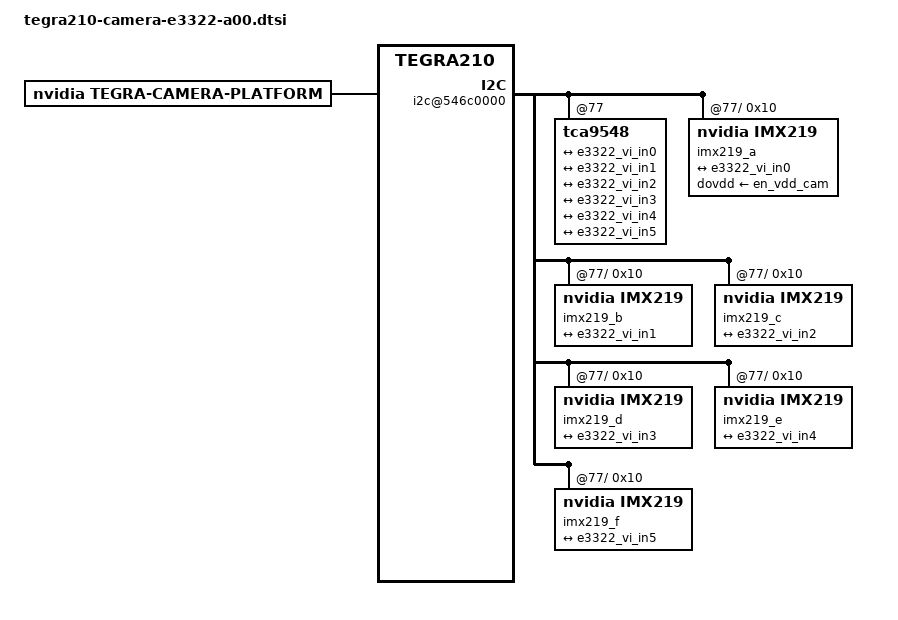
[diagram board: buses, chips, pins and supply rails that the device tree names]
/*
 * Copyright (c) 2015-2016, NVIDIA CORPORATION.  All rights reserved.
 *
 * This program is free software; you can redistribute it and/or modify
 * it under the terms of the GNU General Public License as published by
 * the Free Software Foundation; either version 2 of the License, or
 * (at your option) any later version.
 *
 * This program is distributed in the hope that it will be useful, but WITHOUT
 * ANY WARRANTY; without even the implied warranty of MERCHANTABILITY or
 * FITNESS FOR A PARTICULAR PURPOSE.  See the GNU General Public License for
 * more details.
 *
 * You should have received a copy of the GNU General Public License
 * along with this program.  If not, see <http://www.gnu.org/licenses/>.
 */

#include <dt-bindings/media/camera.h>
#include <dt-bindings/platform/t210/t210.h>

#define CAM0_RST_L	TEGRA_GPIO(S, 4)
#define CAM0_PWDN	TEGRA_GPIO(S, 7)

/* camera control gpio definitions */
/ {
	host1x {
		vi {
			num-channels = <6>;
			ports {
				#address-cells = <1>;
				#size-cells = <0>;
				port@0 {
					reg = <0>;
					e3322_vi_in0: endpoint {
						remote-endpoint = <&imx219_out0>;
					};
				};
				port@1 {
					reg = <1>;
					e3322_vi_in1: endpoint {
						remote-endpoint = <&imx219_out1>;
					};
				};
				port@2 {
					reg = <2>;
					e3322_vi_in2: endpoint {
						remote-endpoint = <&imx219_out2>;
					};
				};
				port@3 {
					reg = <3>;
					e3322_vi_in3: endpoint {
						remote-endpoint = <&imx219_out3>;
					};
				};
				port@4 {
					reg = <4>;
					e3322_vi_in4: endpoint {
						remote-endpoint = <&imx219_out4>;
					};
				};
				port@5 {
					reg = <5>;
					e3322_vi_in5: endpoint {
						remote-endpoint = <&imx219_out5>;
					};
				};
			};
		};

		i2c@546c0000 {
			status = "okay";
			#address-cells = <1>;
			#size-cells = <0>;

			tca9548@77 {
				i2c@0 {
					imx219_a@10 {
						compatible = "nvidia,imx219";
						reg = <0x10>;

						physical_w = "5.095";
						physical_h = "4.930";

						sensor_model ="imx219";
						dovdd-supply = <&en_vdd_cam>;
						avdd-reg = "vana";
						dvdd-reg = "vdig";
						iovdd-reg = "dovdd";
						devnode = "video0";

						/* Defines number of frames to be dropped by driver internally after applying */
						/* sensor crop settings. Some sensors send corrupt frames after applying */
						/* crop co-ordinates */
						post_crop_frame_drop = "0";

						mode0 { // IMX219_MODE_3280X2464
							mclk_khz = "12000";
							num_lanes = "2";
							tegra_sinterface = "serial_a";
							discontinuous_clk = "yes";
							cil_settletime = "0";

							active_w = "3280";
							active_h = "2464";
							pixel_t = "bayer_rggb";
							readout_orientation = "90";
							line_length = "3448";
							inherent_gain = "1";
							mclk_multiplier = "25";
							pix_clk_hz = "170000000";

							min_gain_val = "1.0";
							max_gain_val = "16.0";
							min_hdr_ratio = "1";
							max_hdr_ratio = "64";
							min_framerate = "1.462526";
							max_framerate = "21";
							min_exp_time = "13";
							max_exp_time = "683709";
						};
						ports {
							#address-cells = <1>;
							#size-cells = <0>;

							port@0 {
								reg = <0>;
								imx219_out0: endpoint {
									csi-port = <0>;
									bus-width = <2>;
									remote-endpoint = <&e3322_vi_in0>;
								};
							};
						};
					};
				};
				i2c@1 {
					imx219_b@10 {
						compatible = "nvidia,imx219";
						reg = <0x10>;

						physical_w = "5.095";
						physical_h = "4.930";

						sensor_model ="imx219";
						avdd-reg = "vana";
						dvdd-reg = "vdig";
						iovdd-reg = "dovdd";
						devnode = "video1";

						/* Defines number of frames to be dropped by driver internally after applying */
						/* sensor crop settings. Some sensors send corrupt frames after applying */
						/* crop co-ordinates */
						post_crop_frame_drop = "0";

						mode0 { // IMX219_MODE_3280X2464
							mclk_khz = "12000";
							num_lanes = "2";
							tegra_sinterface = "serial_b";
							discontinuous_clk = "yes";
							cil_settletime = "0";

							active_w = "3280";
							active_h = "2464";
							pixel_t = "bayer_rggb";
							readout_orientation = "90";
							line_length = "3448";
							inherent_gain = "1";
							mclk_multiplier = "25";
							pix_clk_hz = "170000000";

							min_gain_val = "1.0";
							max_gain_val = "16.0";
							min_hdr_ratio = "1";
							max_hdr_ratio = "64";
							min_framerate = "1.462526";
							max_framerate = "21";
							min_exp_time = "13";
							max_exp_time = "683709";
						};
						ports {
							#address-cells = <1>;
							#size-cells = <0>;

							port@0 {
								reg = <0>;
								imx219_out1: endpoint {
									csi-port = <1>;
									bus-width = <2>;
									remote-endpoint = <&e3322_vi_in1>;
								};
							};
						};
					};
				};
				i2c@2 {
					imx219_c@10 {
						compatible = "nvidia,imx219";
						reg = <0x10>;

						physical_w = "5.095";
						physical_h = "4.930";

						sensor_model ="imx219";
						avdd-reg = "vana";
						dvdd-reg = "vdig";
						iovdd-reg = "dovdd";
						devnode = "video2";

						/* Defines number of frames to be dropped by driver internally after applying */
						/* sensor crop settings. Some sensors send corrupt frames after applying */
						/* crop co-ordinates */
						post_crop_frame_drop = "0";

						mode0 { // IMX219_MODE_3280X2464
							mclk_khz = "12000";
							num_lanes = "2";
							tegra_sinterface = "serial_c";
							discontinuous_clk = "yes";
							cil_settletime = "0";

							active_w = "3280";
							active_h = "2464";
							pixel_t = "bayer_rggb";
							readout_orientation = "90";
							line_length = "3448";
							inherent_gain = "1";
							mclk_multiplier = "25";
							pix_clk_hz = "170000000";

							min_gain_val = "1.0";
							max_gain_val = "16.0";
							min_hdr_ratio = "1";
							max_hdr_ratio = "64";
							min_framerate = "1.462526";
							max_framerate = "21";
							min_exp_time = "13";
							max_exp_time = "683709";
						};
						ports {
							#address-cells = <1>;
							#size-cells = <0>;

							port@0 {
								reg = <0>;
								imx219_out2: endpoint {
									csi-port = <2>;
									bus-width = <2>;
									remote-endpoint = <&e3322_vi_in2>;
								};
							};
						};
					};
				};
				i2c@3 {
					imx219_d@10 {
						compatible = "nvidia,imx219";
						reg = <0x10>;

						physical_w = "5.095";
						physical_h = "4.930";

						sensor_model ="imx219";
						avdd-reg = "vana";
						dvdd-reg = "vdig";
						iovdd-reg = "dovdd";
						devnode = "video3";

						/* Defines number of frames to be dropped by driver internally after applying */
						/* sensor crop settings. Some sensors send corrupt frames after applying */
						/* crop co-ordinates */
						post_crop_frame_drop = "0";

						mode0 { // IMX219_MODE_3280X2464
							mclk_khz = "12000";
							num_lanes = "2";
							tegra_sinterface = "serial_d";
							discontinuous_clk = "yes";
							cil_settletime = "0";

							active_w = "3280";
							active_h = "2464";
							pixel_t = "bayer_rggb";
							readout_orientation = "90";
							line_length = "3448";
							inherent_gain = "1";
							mclk_multiplier = "25";
							pix_clk_hz = "170000000";

							min_gain_val = "1.0";
							max_gain_val = "16.0";
							min_hdr_ratio = "1";
							max_hdr_ratio = "64";
							min_framerate = "1.462526";
							max_framerate = "21";
							min_exp_time = "13";
							max_exp_time = "683709";
						};
						ports {
							#address-cells = <1>;
							#size-cells = <0>;

							port@0 {
								reg = <0>;
								imx219_out3: endpoint {
									csi-port = <3>;
									bus-width = <2>;
									remote-endpoint = <&e3322_vi_in3>;
								};
							};
						};
					};
				};
				i2c@4 {
					imx219_e@10 {
						compatible = "nvidia,imx219";
						reg = <0x10>;

						physical_w = "5.095";
						physical_h = "4.930";

						sensor_model ="imx219";
						avdd-reg = "vana";
						dvdd-reg = "vdig";
						iovdd-reg = "dovdd";
						devnode = "video4";

						/* Defines number of frames to be dropped by driver internally after applying */
						/* sensor crop settings. Some sensors send corrupt frames after applying */
						/* crop co-ordinates */
						post_crop_frame_drop = "0";

						mode0 { // IMX219_MODE_3280X2464
							mclk_khz = "12000";
							num_lanes = "2";
							tegra_sinterface = "serial_e";
							discontinuous_clk = "yes";
							cil_settletime = "0";

							active_w = "3280";
							active_h = "2464";
							pixel_t = "bayer_rggb";
							readout_orientation = "90";
							line_length = "3448";
							inherent_gain = "1";
							mclk_multiplier = "25";
							pix_clk_hz = "170000000";

							min_gain_val = "1.0";
							max_gain_val = "16.0";
							min_hdr_ratio = "1";
							max_hdr_ratio = "64";
							min_framerate = "1.462526";
							max_framerate = "21";
							min_exp_time = "13";
							max_exp_time = "683709";
						};
						ports {
							#address-cells = <1>;
							#size-cells = <0>;

							port@0 {
								reg = <0>;
								imx219_out4: endpoint {
									csi-port = <4>;
									bus-width = <2>;
									remote-endpoint = <&e3322_vi_in4>;
								};
							};
						};
					};
				};
				i2c@5 {
					imx219_f@10 {
						compatible = "nvidia,imx219";
						reg = <0x10>;

						physical_w = "5.095";
						physical_h = "4.930";

						sensor_model ="imx219";
						avdd-reg = "vana";
						dvdd-reg = "vdig";
						iovdd-reg = "dovdd";
						devnode = "video5";

						/* Defines number of frames to be dropped by driver internally after applying */
						/* sensor crop settings. Some sensors send corrupt frames after applying */
						/* crop co-ordinates */
						post_crop_frame_drop = "0";

						mode0 { // IMX219_MODE_3280X2464
							mclk_khz = "12000";
							num_lanes = "2";
							tegra_sinterface = "serial_f";
							discontinuous_clk = "yes";
							cil_settletime = "0";

							active_w = "3280";
							active_h = "2464";
							pixel_t = "bayer_rggb";
							readout_orientation = "90";
							line_length = "3448";
							inherent_gain = "1";
							mclk_multiplier = "25";
							pix_clk_hz = "170000000";

							min_gain_val = "1.0";
							max_gain_val = "16.0";
							min_hdr_ratio = "1";
							max_hdr_ratio = "64";
							min_framerate = "1.462526";
							max_framerate = "21";
							min_exp_time = "13";
							max_exp_time = "683709";
						};
						ports {
							#address-cells = <1>;
							#size-cells = <0>;

							port@0 {
								reg = <0>;
								imx219_out5: endpoint {
									csi-port = <5>;
									bus-width = <2>;
									remote-endpoint = <&e3322_vi_in5>;
								};
							};
						};
					};
				};
			};
		};
	};
};

/* camera control gpio definitions */
/ {

	tegra-camera-platform {
		compatible = "nvidia, tegra-camera-platform";

		/**
		 * The general guideline for naming badge_info contains 3 parts, and is as follows,
		 * The first part is the camera_board_id for the module; if the module is in a FFD
		 * platform, then use the platform name for this part.
		 * The second part contains the position of the module, ex. “rear” or “front”.
		 * The third part contains the last 6 characters of a part number which is found
		 * in the module's specsheet from the vender.
		 */
		modules {
			module0 {
				badge = "e3322_bottomleft_A815P2";
				position = "bottomleft";
				orientation = "1";
				drivernode0 {
					pcl_id = "v4l2_sensor";
					proc-device-tree = "/proc/device-tree/host1x/i2c@546c0000/tca9548@77/i2c@0/imx219_a@10";
				};
			};
			module1 {
				badge = "e3322_centerleft_A815P2";
				position = "centerleft";
				orientation = "1";
				drivernode0 {
					pcl_id = "v4l2_sensor";
					proc-device-tree = "/proc/device-tree/host1x/i2c@546c0000/tca9548@77/i2c@1/imx219_b@10";
				};
			};
			module2 {
				badge = "e3322_centerleft_A815P2";
				position = "centerright";
				orientation = "1";
				drivernode0 {
					pcl_id = "v4l2_sensor";
					proc-device-tree = "/proc/device-tree/host1x/i2c@546c0000/tca9548@77/i2c@2/imx219_c@10";
				};
			};
			module3 {
				badge = "e3322_centerleft_A815P2";
				position = "topleft";
				orientation = "1";
				drivernode0 {
					pcl_id = "v4l2_sensor";
					proc-device-tree = "/proc/device-tree/host1x/i2c@546c0000/tca9548@77/i2c@3/imx219_d@10";
				};
			};
			module4 {
				badge = "e3322_centerleft_A815P2";
				position = "bottomright";
				orientation = "1";
				drivernode0 {
					pcl_id = "v4l2_sensor";
					proc-device-tree = "/proc/device-tree/host1x/i2c@546c0000/tca9548@77/i2c@4/imx219_e@10";
				};
			};
			module5 {
				badge = "e3322_centerleft_A815P2";
				position = "topright";
				orientation = "1";
				drivernode0 {
					pcl_id = "v4l2_sensor";
					proc-device-tree = "/proc/device-tree/host1x/i2c@546c0000/tca9548@77/i2c@5/imx219_f@10";
				};
			};
		};
	};
};
